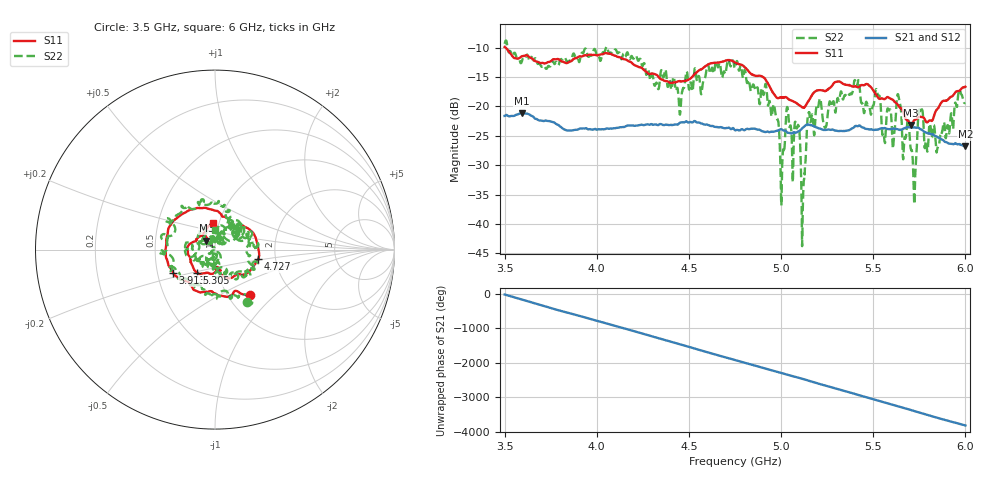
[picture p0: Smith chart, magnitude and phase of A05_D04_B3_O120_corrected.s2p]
! Created with skrf 1.9.0 (http://scikit-rf.org).
# Hz S RI R 50.0
!freq ReS11 ImS11 ReS21 ImS21 ReS12 ImS12 ReS22 ImS22
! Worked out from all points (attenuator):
!   1601 points, 3.5 GHz to 6 GHz, reference 50 ohm
!   highest |S21| = -21.15 dB at 3.592 GHz (marker M1); lowest = -26.8 dB at 6 GHz (marker M2)
!   lowest |S11| = -23.1 dB at 5.705 GHz (marker M3), VSWR 1.15, Z = 45.2 + j4.57 ohm
!   |S11| at or under -10 dB: 3.506 GHz to end of sweep
!   |S22| runs from -43.8 to -8.8 dB; largest |S21 - S12| = 0.0011
!   S11 on the Smith chart (normalised r, x): 3.5 GHz: 1.26, -0.72; 3.913 GHz: 0.60, -0.17; 4.727 GHz: 1.62, -0.19; 5.305 GHz: 0.80, -0.21; 6 GHz: 0.94, +0.28
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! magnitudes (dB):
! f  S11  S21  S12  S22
! 3.5 GHz  -9.9  -21.6  -21.6  -9.3
! 3.592 GHz  -11.5  -21.2  -21.1  -12.5
! 3.913 GHz  -11.5  -23.8  -23.7  -11.4
! 3.917 GHz  -11.5  -23.7  -23.7  -10.9
! 4.334 GHz  -14.9  -23.2  -23.1  -17.0
! 4.727 GHz  -12.1  -23.8  -23.7  -13.2
! 4.75 GHz  -12.5  -24.0  -23.9  -13.5
! 4.969 GHz  -18.2  -24.2  -24.1  -21.1
! 5.006 GHz  -18.5  -24.0  -23.9  -29.9
! 5.034 GHz  -18.6  -24.5  -24.3  -20.1
! 5.088 GHz  -19.5  -24.4  -24.3  -23.6
! 5.119 GHz  -20.2  -23.6  -23.5  -36.1
! 5.147 GHz  -19.2  -23.1  -23.0  -21.3
! 5.167 GHz  -18.1  -23.2  -23.2  -21.5
! 5.305 GHz  -15.8  -24.1  -24.1  -18.7
! 5.584 GHz  -18.5  -23.8  -23.8  -20.6
! 5.639 GHz  -20.0  -24.0  -23.9  -18.6
! 5.705 GHz  -23.1  -23.6  -23.5  -27.3
! 5.723 GHz  -22.3  -23.6  -23.5  -36.6
! 5.756 GHz  -21.7  -23.9  -23.8  -21.1
! 5.85 GHz  -20.4  -25.2  -25.1  -26.9
! 6 GHz  -16.6  -26.8  -26.7  -19.4
